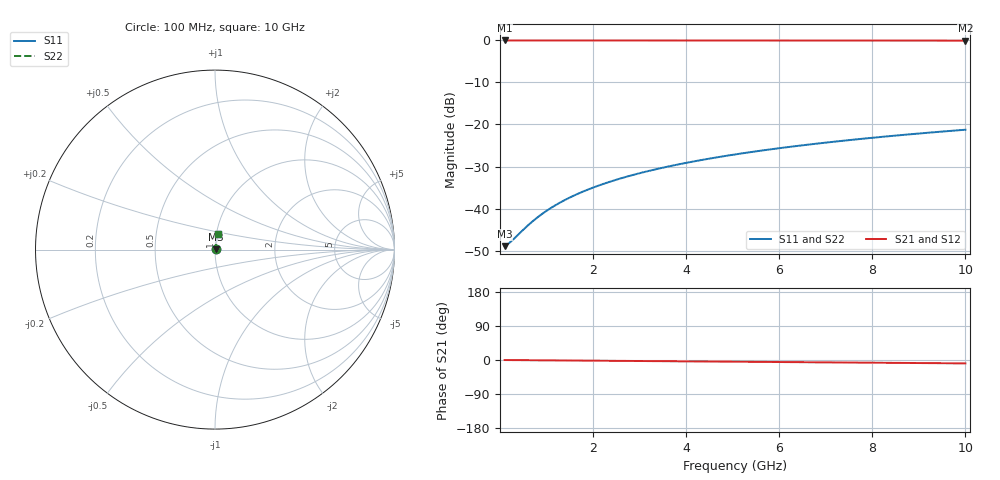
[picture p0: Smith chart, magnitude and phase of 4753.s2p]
# Hz S RI R 50.00
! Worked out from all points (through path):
!   100 points, 100 MHz to 10 GHz, reference 50 ohm
!   highest |S21| = -0.03 dB at 100 MHz (marker M1); lowest = -0.1 dB at 10 GHz (marker M2)
!   group delay of S21, straight-line fit = 2.48 ps
!   lowest |S11| = -48.9 dB at 100 MHz (marker M3), VSWR 1.01, Z = 50.3 + j0.087 ohm
!   |S11| at or under -10 dB: start of sweep to end of sweep
!   |S22| runs from -48.9 to -21.3 dB; largest |S21 - S12| = 0
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1e8  0.00347 0.000864  0.9965 -0.00155  0.9965 -0.00155  0.00347 0.000864
2e8  0.0035 0.00173  0.9965 -0.0031  0.9965 -0.0031  0.0035 0.00173
3e8  0.00352 0.00259  0.9965 -0.00466  0.9965 -0.00466  0.00352 0.00259
6e8  0.00359 0.00518  0.9964 -0.00931  0.9964 -0.00931  0.00359 0.00518
7e8  0.00362 0.00605  0.9964 -0.0109  0.9964 -0.0109  0.00362 0.00605
8e8  0.00365 0.00691  0.9963 -0.0124  0.9963 -0.0124  0.00365 0.00691
1e9  0.00371 0.00864  0.9963 -0.0155  0.9963 -0.0155  0.00371 0.00864
1.2e9  0.00378 0.0104  0.9962 -0.0186  0.9962 -0.0186  0.00378 0.0104
1.4e9  0.00386 0.0121  0.9961 -0.0217  0.9961 -0.0217  0.00386 0.0121
1.6e9  0.00395 0.0138  0.996 -0.0248  0.996 -0.0248  0.00395 0.0138
1.8e9  0.00406 0.0155  0.9959 -0.0279  0.9959 -0.0279  0.00406 0.0155
2.1e9  0.00423 0.0181  0.9957 -0.0326  0.9957 -0.0326  0.00423 0.0181
2.5e9  0.00449 0.0216  0.9953 -0.0388  0.9953 -0.0388  0.00449 0.0216
2.9e9  0.0048 0.025  0.995 -0.045  0.995 -0.045  0.0048 0.025
3.4e9  0.00524 0.0293  0.9945 -0.0527  0.9945 -0.0527  0.00524 0.0293
4.2e9  0.00608 0.0362  0.9935 -0.0651  0.9935 -0.0651  0.00608 0.0362
5.1e9  0.00723 0.0439  0.9921 -0.079  0.9921 -0.079  0.00723 0.0439
5.9e9  0.00843 0.0506  0.9907 -0.0913  0.9907 -0.0913  0.00843 0.0506
6.7e9  0.0098 0.0574  0.9891 -0.1036  0.9891 -0.1036  0.0098 0.0574
7.5e9  0.0113 0.0641  0.9873 -0.1158  0.9873 -0.1158  0.0113 0.0641
8.4e9  0.0133 0.0717  0.985 -0.1296  0.985 -0.1296  0.0133 0.0717
1e10  0.0172 0.0849  0.9803 -0.1539  0.9803 -0.1539  0.0172 0.0849
